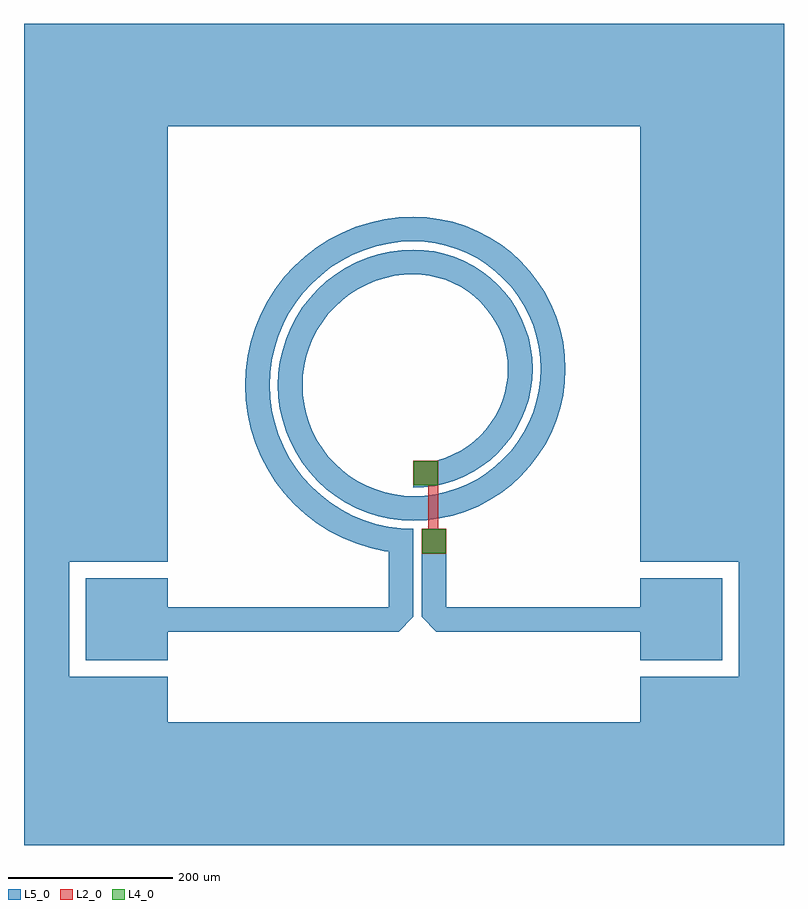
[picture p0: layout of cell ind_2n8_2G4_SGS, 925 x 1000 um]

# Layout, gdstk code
import gdstk
lib = gdstk.Library(unit=1e-6, precision=5e-10)
def R(c, l, rs):  # rectangles x0, y0, x1, y1
    for r in rs: c.add(gdstk.rectangle(r[:2], r[2:], *l))
def P(c, l, *ps):  # polygons
    for p in ps: c.add(gdstk.Polygon(p, *l))
L2_0 = (2, 0)
L4_0 = (4, 0)
L5_0 = (5, 0)

ind_2n8_2g4_sgs = lib.new_cell('ind_2n8_2G4_SGS')
R(ind_2n8_2g4_sgs, L2_0, [(-91,5,-61,35), (-83,5,-71,115), (-101,88,-71,118)])
R(ind_2n8_2g4_sgs, L4_0, [(-90.5,5.5,-61.5,34.5), (-100.5,88.5,-71.5,117.5)])
R(ind_2n8_2g4_sgs, L5_0, [(-545,-350,320,-200), (-500,-125,-400,-25), (175,-125,275,-25), (-131,-15,-101,35), (-91,-15,-61,35), (-101,88,-71,118), (-425,525,200,650)])
P(ind_2n8_2g4_sgs, L5_0, [(-410,-90),(-119,-90),(-101,-72),(-101,-15),(-131,-15),(-131,-60),(-410,-60)],
  [(190,-60),(-61,-60),(-61,-15),(-91,-15),(-91,-72),(-73,-90),(190,-90)],
  [(175,650),(175,-5),(295,-5),(295,-145),(175,-145),(175,-350),(350,-350),(350,650)],
  [(-400,650),(-400,-5),(-520,-5),(-520,-145),(-400,-145),(-400,-350),(-575,-350),(-575,650)],
  [(-101,115),(-101,85),(-88.3625,85.552),(-75.821,87.203),(-63.471,89.941),(-51.407,93.7445),(-39.7205,98.5855),(-28.5,104.4265),(-17.8315,111.223),(-7.796,118.9235),(1.5305,127.4695),(10.0765,136.796),(17.777,146.8315),(24.5735,157.5),(30.4145,168.7205),(35.2555,180.407),(39.059,192.471),(41.797,204.821),(43.448,217.3625),(44,230),(43.448,242.6375),(41.797,255.179),(39.059,267.529),(35.2555,279.593),(30.4145,291.2795),(24.5735,302.5),(17.777,313.1685),(10.0765,323.204),(1.5305,332.5305),(-7.796,341.0765),(-17.8315,348.777),(-28.5,355.5735),(-39.7205,361.4145),(-51.407,366.2555),(-63.471,370.059),(-75.821,372.797),(-88.3625,374.448),(-101,375),(-101,345),(-90.977,344.5625),(-81.0305,343.253),(-71.236,341.0815),(-61.6675,338.0645),(-52.399,334.2255),(-43.5,329.593),(-35.0385,324.2025),(-27.0795,318.095),(-19.6825,311.3175),(-12.905,303.9205),(-6.7975,295.9615),(-1.407,287.5),(3.2255,278.601),(7.0645,269.3325),(10.0815,259.764),(12.253,249.9695),(13.5625,240.023),(14,230),(13.5625,219.977),(12.253,210.0305),(10.0815,200.236),(7.0645,190.6675),(3.2255,181.399),(-1.407,172.5),(-6.7975,164.0385),(-12.905,156.0795),(-19.6825,148.6825),(-27.0795,141.905),(-35.0385,135.7975),(-43.5,130.407),(-52.399,125.7745),(-61.6675,121.9355),(-71.236,118.9185),(-81.0305,116.747),(-90.977,115.4375)],
  [(-101,75),(-101,45),(-115.3805,45.628),(-129.652,47.5065),(-143.705,50.622),(-157.4335,54.9505),(-170.732,60.459),(-183.5,67.106),(-195.64,74.84),(-207.06,83.6025),(-217.6725,93.3275),(-227.3975,103.94),(-236.16,115.36),(-243.894,127.5),(-250.541,140.268),(-256.0495,153.5665),(-260.378,167.295),(-263.4935,181.348),(-265.372,195.6195),(-266,210),(-265.372,224.3805),(-263.4935,238.652),(-260.378,252.705),(-256.0495,266.4335),(-250.541,279.732),(-243.894,292.5),(-236.16,304.64),(-227.3975,316.06),(-217.6725,326.6725),(-207.06,336.3975),(-195.64,345.16),(-183.5,352.894),(-170.732,359.541),(-157.4335,365.0495),(-143.705,369.378),(-129.652,372.4935),(-115.3805,374.372),(-101,375),(-101,345),(-112.766,344.4865),(-124.4425,342.949),(-135.9405,340.4),(-147.1725,336.8585),(-158.0535,332.3515),(-168.5,326.9135),(-178.433,320.5855),(-187.7765,313.416),(-196.4595,305.4595),(-204.416,296.7765),(-211.5855,287.433),(-217.9135,277.5),(-223.3515,267.0535),(-227.8585,256.1725),(-231.4,244.9405),(-233.949,233.4425),(-235.4865,221.766),(-236,210),(-235.4865,198.234),(-233.949,186.5575),(-231.4,175.0595),(-227.8585,163.8275),(-223.3515,152.9465),(-217.9135,142.5),(-211.5855,132.567),(-204.416,123.2235),(-196.4595,114.5405),(-187.7765,106.584),(-178.433,99.4145),(-168.5,93.0865),(-158.0535,87.6485),(-147.1725,83.1415),(-135.9405,79.6),(-124.4425,77.051),(-112.766,75.5135)],
  [(-101,75),(-101,45),(-84.876,45.704),(-68.875,47.8105),(-53.1185,51.3035),(-37.7265,56.157),(-22.8155,62.333),(-8.5,69.7855),(5.1115,78.457),(17.9155,88.282),(29.815,99.185),(40.718,111.0845),(50.543,123.8885),(59.2145,137.5),(66.667,151.8155),(72.843,166.7265),(77.6965,182.1185),(81.1895,197.875),(83.296,213.876),(84,230),(83.296,246.124),(81.1895,262.125),(77.6965,277.8815),(72.843,293.2735),(66.667,308.1845),(59.2145,322.5),(50.543,336.1115),(40.718,348.9155),(29.815,360.815),(17.9155,371.718),(5.1115,381.543),(-8.5,390.2145),(-22.8155,397.667),(-37.7265,403.843),(-53.1185,408.6965),(-68.875,412.1895),(-84.876,414.296),(-101,415),(-101,385),(-87.491,384.41),(-74.0845,382.645),(-60.883,379.7185),(-47.987,375.6525),(-35.494,370.4775),(-23.5,364.234),(-12.0955,356.9685),(-1.368,348.737),(8.6015,339.6015),(17.737,329.632),(25.9685,318.9045),(33.234,307.5),(39.4775,295.506),(44.6525,283.013),(48.7185,270.117),(51.645,256.9155),(53.41,243.509),(54,230),(53.41,216.491),(51.645,203.0845),(48.7185,189.883),(44.6525,176.987),(39.4775,164.494),(33.234,152.5),(25.9685,141.0955),(17.737,130.368),(8.6015,120.3985),(-1.368,111.263),(-12.0955,103.0315),(-23.5,95.766),(-35.494,89.5225),(-47.987,84.3475),(-60.883,80.2815),(-74.0845,77.355),(-87.491,75.59)],
  [(-101,35),(-101,5),(-118.867,5.78),(-136.598,8.1145),(-154.058,11.985),(-171.114,17.363),(-187.6365,24.207),(-203.5,32.465),(-218.583,42.074),(-232.7715,52.961),(-245.957,65.043),(-258.039,78.2285),(-268.926,92.417),(-278.535,107.5),(-286.793,123.3635),(-293.637,139.886),(-299.015,156.942),(-302.8855,174.402),(-305.22,192.133),(-306,210),(-305.22,227.867),(-302.8855,245.598),(-299.015,263.058),(-293.637,280.114),(-286.793,296.6365),(-278.535,312.5),(-268.926,327.583),(-258.039,341.7715),(-245.957,354.957),(-232.7715,367.039),(-218.583,377.926),(-203.5,387.535),(-187.6365,395.793),(-171.114,402.637),(-154.058,408.015),(-136.598,411.8855),(-118.867,414.22),(-101,415),(-101,385),(-116.2525,384.334),(-131.3885,382.3415),(-146.2935,379.037),(-160.8535,374.446),(-174.958,368.604),(-188.5,361.5545),(-201.376,353.3515),(-213.488,344.058),(-224.7435,333.7435),(-235.058,322.488),(-244.3515,310.376),(-252.5545,297.5),(-259.604,283.958),(-265.446,269.8535),(-270.037,255.2935),(-273.3415,240.3885),(-275.334,225.2525),(-276,210),(-275.334,194.7475),(-273.3415,179.6115),(-270.037,164.7065),(-265.446,150.1465),(-259.604,136.042),(-252.5545,122.5),(-244.3515,109.624),(-235.058,97.512),(-224.7435,86.2565),(-213.488,75.942),(-201.376,66.6485),(-188.5,58.4455),(-174.958,51.396),(-160.8535,45.554),(-146.2935,40.963),(-131.3885,37.6585),(-116.2525,35.666)])

lib.write_gds('ind_2n8_2G4_SGS.gds')
